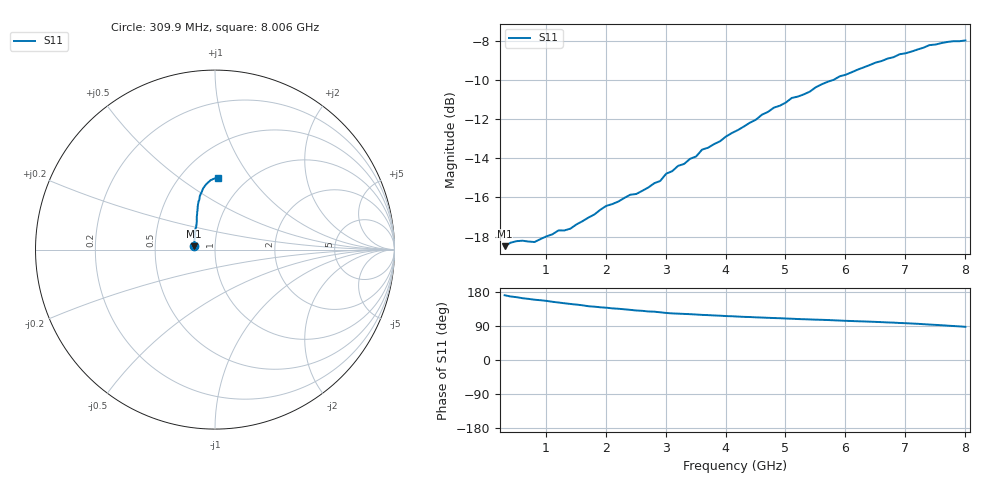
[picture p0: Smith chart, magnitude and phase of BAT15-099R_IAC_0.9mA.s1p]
! Infineon Technologies  Discrete & RF Semiconductors
! BAT15-099R
! IAC = 0.9 mA
! One-Port S-Parameters
# Hz  S  MA  R  50
!f  S11
!Hz  Mag  Ang
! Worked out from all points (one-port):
!   78 points, 309.9 MHz to 8.006 GHz, reference 50 ohm
!   lowest |S11| = -18.5 dB at 309.9 MHz (marker M1), VSWR 1.27, Z = 39.5 + j1.51 ohm
!   |S11| at or under -10 dB: start of sweep to 5.799 GHz
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3.0985e8  0.119 170.8
5.0975e8  0.1225 165.8
8.096e8  0.1219 159.1
1.2094e9  0.1305 151.7
1.30935e9  0.1305 149.7
1.4093e9  0.1319 147.9
2.009e9  0.1508 138.0
2.30885e9  0.158 133.9
2.4088e9  0.161 132.3
2.50875e9  0.1617 130.7
2.90855e9  0.1746 125.9
3.0085e9  0.1822 124.2
3.10845e9  0.1849 123.0
3.2084e9  0.1908 122.3
3.50825e9  0.2016 120.0
3.6082e9  0.2099 119.0
3.90805e9  0.2205 116.9
4.2079e9  0.2356 114.6
4.8076e9  0.2687 110.7
5.0075e9  0.2769 109.5
5.10745e9  0.2845 108.9
5.2074e9  0.2867 108.1
5.6072e9  0.3083 106.0
6.10695e9  0.3308 102.9
6.90655e9  0.3678 97.7
7.10645e9  0.3737 96.3
7.4063e9  0.3881 93.5
8.006e9  0.3989 87.5
